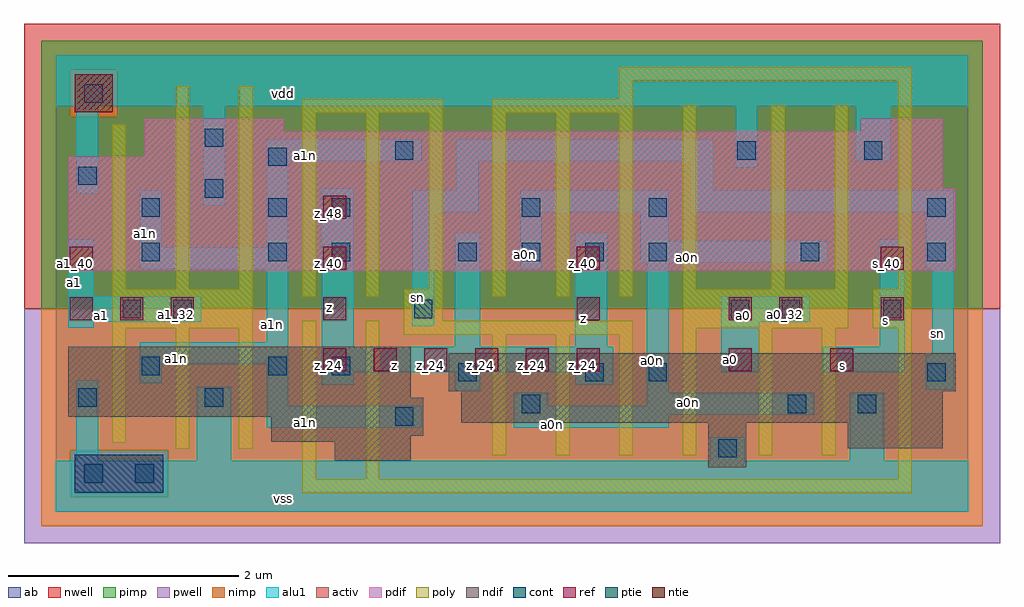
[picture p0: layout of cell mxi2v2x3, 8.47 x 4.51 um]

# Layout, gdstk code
import gdstk
lib = gdstk.Library(unit=1e-6, precision=2.5e-09)
def R(c, l, rs):  # rectangles x0, y0, x1, y1
    for r in rs: c.add(gdstk.rectangle(r[:2], r[2:], *l))
def A(c, l, x, y, w, h, nx, ny, dx, dy):  # array of equal rectangles
    R(c, l, [(x+i*dx, y+j*dy, x+i*dx+w, y+j*dy+h) for i in range(nx) for j in range(ny)])
ndif = (3, 0)
pdif = (4, 0)
ntie = (5, 0)
ptie = (6, 0)
ref = (24, 0)
cont = (25, 0)
pwell = (41, 0)
nwell = (42, 0)
activ = (43, 0)
pimp = (44, 0)
nimp = (45, 0)
poly = (46, 0)
alu1 = (49, 0)
ab = (63, 0)

mxi2v2x3 = lib.new_cell('mxi2v2x3')
R(mxi2v2x3, ndif, [(5.665,0.385,5.995,0.77), (2.42,0.44,3.08,0.605), (6.875,0.55,7.7,0.77), (1.87,0.605,3.08,0.66), (1.87,0.66,3.19,0.825), (3.52,0.77,7.7,1.045), (0.11,0.825,3.19,0.99), (0.11,0.99,3.08,1.43), (3.41,1.045,7.81,1.375)])
R(mxi2v2x3, pdif, [(0.11,2.09,7.81,2.805), (0.11,2.805,7.7,3.08), (0.77,3.08,7.7,3.3), (0.77,3.3,1.98,3.41), (6.985,3.3,7.7,3.41)])
R(mxi2v2x3, ntie, [(0.165,3.465,0.495,3.795)])
R(mxi2v2x3, ptie, [(0.165,0.165,0.935,0.495)])
A(mxi2v2x3, ref, 2.32, 1.22, 0.2, 0.2, 6, 1, 0.44, 0)
A(mxi2v2x3, ref, 0.12, 1.66, 0.2, 0.2, 3, 1, 0.44, 0)
A(mxi2v2x3, ref, 0.12, 2.1, 0.2, 0.2, 3, 1, 2.2, 0)
R(mxi2v2x3, ref, [(5.84,1.22,6.04,1.42), (6.72,1.22,6.92,1.42), (2.32,1.66,2.52,1.86), (4.52,1.66,4.72,1.86), (5.84,1.66,6.04,1.86), (6.28,1.66,6.48,1.86), (7.16,1.66,7.36,1.86), (7.16,2.1,7.36,2.3), (2.32,2.54,2.52,2.74)])
A(mxi2v2x3, cont, 3.495, 2.175, 0.16, 0.16, 4, 1, 0.55, 0)
R(mxi2v2x3, cont, [(0.25,0.25,0.41,0.41), (0.69,0.25,0.85,0.41), (5.75,0.47,5.91,0.63), (2.945,0.745,3.105,0.905), (4.045,0.855,4.205,1.015), (6.355,0.855,6.515,1.015), (6.96,0.855,7.12,1.015), (0.195,0.91,0.355,1.07), (1.295,0.91,1.455,1.07), (3.495,1.13,3.655,1.29), (4.595,1.13,4.755,1.29), (5.145,1.13,5.305,1.29), (7.565,1.13,7.725,1.29), (0.745,1.185,0.905,1.345), (1.845,1.185,2.005,1.345), (2.395,1.185,2.555,1.345), (0.58,1.68,0.74,1.84), (1.02,1.68,1.18,1.84), (3.11,1.68,3.27,1.84), (5.86,1.68,6.02,1.84), (6.3,1.68,6.46,1.84), (7.18,1.68,7.34,1.84), (0.745,2.175,0.905,2.335), (1.845,2.175,2.005,2.335), (2.395,2.175,2.555,2.335), (6.465,2.175,6.625,2.335), (7.565,2.175,7.725,2.335), (0.745,2.56,0.905,2.72), (1.845,2.56,2.005,2.72), (2.395,2.56,2.555,2.72), (4.045,2.56,4.205,2.72), (5.145,2.56,5.305,2.72), (7.565,2.56,7.725,2.72), (1.295,2.725,1.455,2.885), (0.195,2.835,0.355,2.995), (1.845,3,2.005,3.16), (2.945,3.055,3.105,3.215), (5.915,3.055,6.075,3.215), (7.015,3.055,7.175,3.215), (1.295,3.165,1.455,3.325), (0.25,3.55,0.41,3.71)])
R(mxi2v2x3, pwell, [(-0.275,-0.275,8.195,1.76)])
R(mxi2v2x3, nwell, [(-0.275,1.76,8.195,4.235)])
R(mxi2v2x3, activ, [(0.165,0.165,0.935,0.495), (5.665,0.385,5.995,0.77), (2.42,0.44,3.08,0.605), (6.875,0.55,7.7,0.77), (1.87,0.605,3.08,0.66), (1.87,0.66,3.19,0.825), (3.52,0.77,7.7,1.045), (0.11,0.825,3.19,0.99), (0.11,0.99,3.08,1.43), (3.41,1.045,7.81,1.375), (0.11,2.09,7.81,2.805), (0.11,2.805,7.7,3.08), (0.77,3.08,7.7,3.3), (0.77,3.3,1.98,3.41), (6.985,3.3,7.7,3.41), (0.165,3.465,0.495,3.795)])
R(mxi2v2x3, pimp, [(0.125,0.125,0.975,0.535), (-0.125,1.76,8.045,3.425), (-0.125,3.425,0.125,3.835), (0.535,3.425,8.045,3.835), (-0.125,3.835,8.045,4.085)])
R(mxi2v2x3, nimp, [(-0.125,-0.125,8.045,0.125), (-0.125,0.125,0.125,0.535), (0.975,0.125,8.045,0.535), (-0.125,0.535,8.045,1.76), (0.125,3.425,0.535,3.835)])
A(mxi2v2x3, poly, 3.79, 0.49, 0.12, 1.045, 3, 1, 0.55, 0)
A(mxi2v2x3, poly, 3.79, 1.865, 0.12, 1.595, 3, 1, 0.55, 0)
R(mxi2v2x3, poly, [(2.14,0.16,7.43,0.28), (2.14,0.28,2.26,1.655), (2.69,0.28,2.81,1.655), (7.31,0.28,7.43,1.59), (5.44,0.49,5.56,1.59), (6.1,0.49,6.22,1.59), (6.65,0.49,6.77,1.59), (1.04,0.545,1.16,1.59), (1.59,0.545,1.71,1.59), (0.49,0.6,0.61,1.59), (3.02,1.535,5.01,1.655), (0.49,1.59,1.71,1.93), (5.44,1.59,6.88,1.93), (7.09,1.59,7.43,1.93), (3.02,1.655,3.36,1.93), (2.14,1.865,2.26,3.46), (2.69,1.865,2.81,3.46), (0.49,1.93,0.61,3.36), (1.04,1.93,1.16,3.69), (1.59,1.93,1.71,3.69), (3.24,1.93,3.36,3.46), (5.44,1.93,5.56,3.525), (6.21,1.93,6.33,3.525), (6.76,1.93,6.88,3.525), (7.31,1.93,7.43,3.735), (2.14,3.46,3.36,3.58), (3.79,3.46,5.01,3.58), (4.89,3.58,5.01,3.735), (4.89,3.735,7.43,3.855)])
R(mxi2v2x3, alu1, [(0,0,7.92,0.44), (0.18,0.44,0.37,1.14), (1.225,0.44,1.525,1.085), (5.68,0.44,5.98,0.645), (6.89,0.44,7.19,1.03), (1.83,0.73,3.175,0.92), (3.975,0.73,5.32,0.84), (3.975,0.84,6.585,0.92), (1.83,0.92,2.02,1.28), (3.975,0.92,4.275,1.03), (5.13,0.92,6.585,1.03), (5.13,1.03,5.32,2.16), (3.465,1.045,3.685,1.21), (7.55,1.06,7.795,1.36), (2.31,1.1,2.585,1.21), (4.51,1.1,4.84,1.21), (0.73,1.115,0.92,1.28), (2.31,1.21,4.84,1.43), (5.775,1.21,6.105,1.65), (6.655,1.21,7.37,1.43), (0.73,1.28,2.02,1.47), (7.605,1.36,7.795,2.105), (2.31,1.43,2.585,2.805), (3.465,1.43,3.685,2.42), (4.51,1.43,4.785,2.42), (7.15,1.43,7.37,2.365), (1.83,1.47,2.02,2.105), (0.11,1.595,0.33,1.65), (3.095,1.61,3.285,2.6), (0.11,1.65,1.265,1.87), (5.775,1.65,6.545,1.87), (0.11,1.87,0.33,2.365), (0.73,2.105,2.02,2.295), (4.03,2.105,4.22,2.6), (7.55,2.105,7.795,2.6), (5.075,2.16,6.695,2.35), (0.73,2.295,0.92,2.79), (1.83,2.295,2.02,3.04), (5.075,2.35,5.32,2.6), (3.095,2.6,3.67,2.79), (4.03,2.6,5.32,2.79), (5.515,2.6,7.795,2.79), (1.28,2.655,1.47,3.52), (0.18,2.765,0.37,3.52), (3.48,2.79,3.67,3.04), (5.515,2.79,5.705,3.04), (5.9,2.985,6.09,3.52), (1.83,3.04,3.175,3.23), (3.48,3.04,5.705,3.23), (6.945,3.04,7.245,3.52), (0,3.52,7.92,3.96)])
R(mxi2v2x3, ab, [(0,0,7.92,3.96)])
mxi2v2x3.add(gdstk.Label('vss', (1.98,0.11), layer=49, texttype=0))
mxi2v2x3.add(gdstk.Label('a0n', (4.31,0.7575), layer=49, texttype=0))
mxi2v2x3.add(gdstk.Label('a1n', (2.165,0.7775), layer=49, texttype=0))
mxi2v2x3.add(gdstk.Label('a0n', (5.4925,0.9475), layer=49, texttype=0))
mxi2v2x3.add(gdstk.Label('sn', (7.6525,1.545), layer=49, texttype=0))
mxi2v2x3.add(gdstk.Label('s', (6.8325,1.265), layer=49, texttype=0))
mxi2v2x3.add(gdstk.Label('s', (7.205,1.6625), layer=49, texttype=0))
mxi2v2x3.add(gdstk.Label('a0', (5.8575,1.32), layer=49, texttype=0))
mxi2v2x3.add(gdstk.Label('a0', (5.9675,1.705), layer=49, texttype=0))
mxi2v2x3.add(gdstk.Label('a0n', (5.1775,1.3125), layer=49, texttype=0))
mxi2v2x3.add(gdstk.Label('z', (2.9425,1.265), layer=49, texttype=0))
mxi2v2x3.add(gdstk.Label('a0n', (5.48,2.2075), layer=49, texttype=0))
mxi2v2x3.add(gdstk.Label('z', (4.5775,1.6775), layer=49, texttype=0))
mxi2v2x3.add(gdstk.Label('a0n', (4.0775,2.2275), layer=49, texttype=0))
mxi2v2x3.add(gdstk.Label('sn', (3.1425,1.8575), layer=49, texttype=0))
mxi2v2x3.add(gdstk.Label('z', (2.3775,1.7725), layer=49, texttype=0))
mxi2v2x3.add(gdstk.Label('a1n', (1.0525,1.3275), layer=49, texttype=0))
mxi2v2x3.add(gdstk.Label('a1n', (1.8775,1.6275), layer=49, texttype=0))
mxi2v2x3.add(gdstk.Label('a1', (0.3975,1.705), layer=49, texttype=0))
mxi2v2x3.add(gdstk.Label('a1n', (2.165,3.0875), layer=49, texttype=0))
mxi2v2x3.add(gdstk.Label('a1n', (0.7775,2.4175), layer=49, texttype=0))
mxi2v2x3.add(gdstk.Label('a1', (0.165,1.9925), layer=49, texttype=0))
mxi2v2x3.add(gdstk.Label('vdd', (1.98,3.63), layer=49, texttype=0))
mxi2v2x3.add(gdstk.Label('z_24', (2.81,1.27), layer=24, texttype=0))
mxi2v2x3.add(gdstk.Label('z_40', (4.57,2.15), layer=24, texttype=0))
mxi2v2x3.add(gdstk.Label('z_24', (2.37,1.27), layer=24, texttype=0))
mxi2v2x3.add(gdstk.Label('s_32', (7.21,1.71), layer=24, texttype=0))
mxi2v2x3.add(gdstk.Label('s_24', (6.77,1.27), layer=24, texttype=0))
mxi2v2x3.add(gdstk.Label('s_40', (7.21,2.15), layer=24, texttype=0))
mxi2v2x3.add(gdstk.Label('z_24', (3.25,1.27), layer=24, texttype=0))
mxi2v2x3.add(gdstk.Label('z_24', (3.69,1.27), layer=24, texttype=0))
mxi2v2x3.add(gdstk.Label('z_32', (4.57,1.71), layer=24, texttype=0))
mxi2v2x3.add(gdstk.Label('z_24', (4.13,1.27), layer=24, texttype=0))
mxi2v2x3.add(gdstk.Label('z_24', (4.57,1.27), layer=24, texttype=0))
mxi2v2x3.add(gdstk.Label('z_48', (2.37,2.59), layer=24, texttype=0))
mxi2v2x3.add(gdstk.Label('z_40', (2.37,2.15), layer=24, texttype=0))
mxi2v2x3.add(gdstk.Label('z_32', (2.37,1.71), layer=24, texttype=0))
mxi2v2x3.add(gdstk.Label('a0_32', (6.33,1.71), layer=24, texttype=0))
mxi2v2x3.add(gdstk.Label('a0_32', (5.89,1.71), layer=24, texttype=0))
mxi2v2x3.add(gdstk.Label('a0_24', (5.89,1.27), layer=24, texttype=0))
mxi2v2x3.add(gdstk.Label('a1_32', (1.05,1.71), layer=24, texttype=0))
mxi2v2x3.add(gdstk.Label('a1_32', (0.61,1.71), layer=24, texttype=0))
mxi2v2x3.add(gdstk.Label('a1_32', (0.17,1.71), layer=24, texttype=0))
mxi2v2x3.add(gdstk.Label('a1_40', (0.17,2.15), layer=24, texttype=0))

lib.write_gds('mxi2v2x3.gds')
